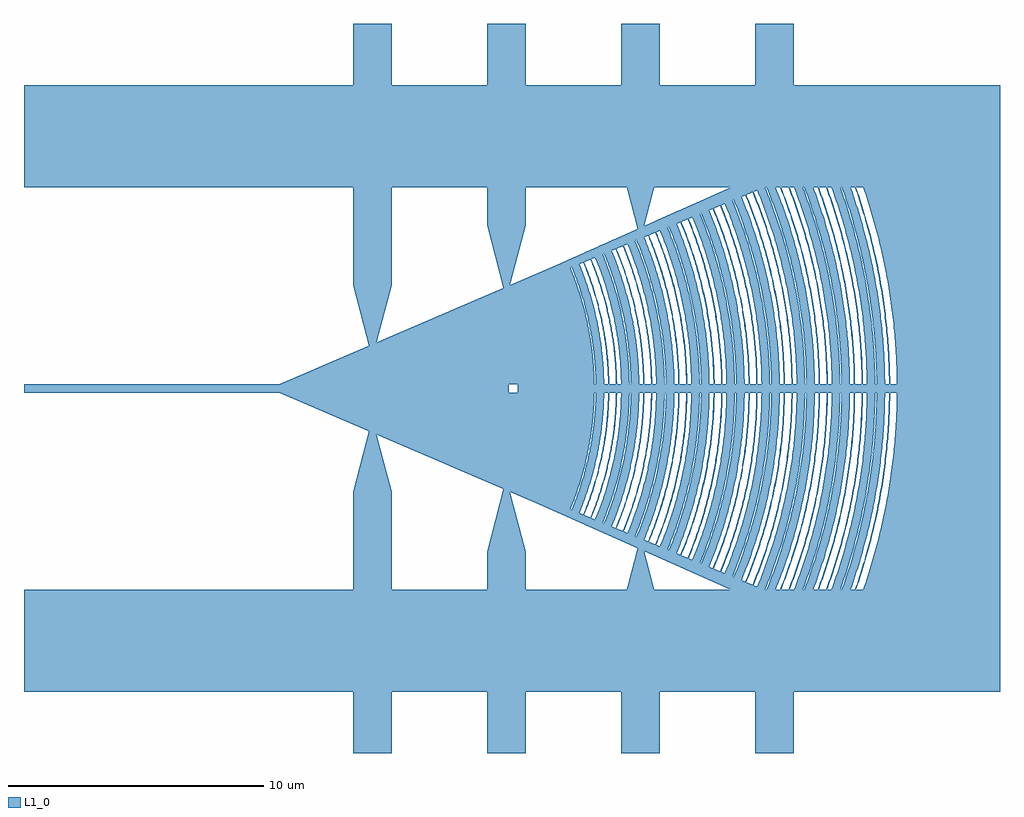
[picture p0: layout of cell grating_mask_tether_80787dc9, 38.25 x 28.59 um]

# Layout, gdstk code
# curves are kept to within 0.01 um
import gdstk
lib = gdstk.Library(unit=1e-6, precision=2e-09)
def R(c, l, rs):  # rectangles x0, y0, x1, y1
    for r in rs: c.add(gdstk.rectangle(r[:2], r[2:], *l))
def P(c, l, *ps):  # polygons
    for p in ps: c.add(gdstk.Polygon(p, *l))
L1_0 = (1, 0)

compass_size13p25__0p35_ = lib.new_cell('compass_size13p25__0p35_a60e96ef')
R(compass_size13p25__0p35_, L1_0, [(0,0,13.25,0.35)])

rectangle_size13p25__0p3 = lib.new_cell('rectangle_size13p25__0p35')
rectangle_size13p25__0p3.add(gdstk.Reference(compass_size13p25__0p35_, (0,0)))

boolean_a3fe4107 = lib.new_cell('boolean_a3fe4107')
P(boolean_a3fe4107, L1_0, [(17.968,-7.874),(18.356,-6.924),(18.692,-5.954),(18.95,-5.078),(19.14,-4.302),(19.258,-3.744),(19.394,-2.956),(19.522,-1.936),(19.602,-0.798),(19.618,0.114),(19.578,1.254),(19.472,2.39),(19.3,3.518),(19.062,4.636),(18.858,5.408),(18.658,6.062),(18.356,6.924),(18.146,7.454),(17.96,7.89),(17.722,7.89),(17.62,7.844),(18.046,6.808),(18.378,5.854),(18.688,4.774),(18.912,3.79),(19.068,2.906),(19.194,1.904),(19.272,0.786),(19.288,0.112),(19.272,-0.786),(19.194,-1.904),(19.068,-2.906),(18.866,-4.01),(18.63,-4.992),(18.344,-5.96),(18.046,-6.808),(17.62,-7.844),(17.722,-7.89),(17.96,-7.89)],
  [(18.196,-7.848),(18.374,-7.424),(18.542,-6.994),(18.7,-6.56),(18.882,-6.014),(19.08,-5.352),(19.2,-4.906),(19.36,-4.232),(19.43,-3.894),(19.536,-3.328),(19.608,-2.872),(19.654,-2.53),(19.72,-1.956),(19.76,-1.498),(19.796,-0.922),(19.812,-0.462),(19.816,0.23),(19.796,0.922),(19.776,1.268),(19.74,1.728),(19.696,2.186),(19.64,2.644),(19.536,3.328),(19.452,3.782),(19.36,4.232),(19.256,4.682),(19.112,5.24),(18.984,5.684),(18.774,6.342),(18.622,6.778),(18.374,7.424),(18.178,7.89),(18.134,7.89),(18.38,7.302),(18.504,6.98),(18.662,6.548),(18.844,6.002),(18.946,5.672),(19.072,5.23),(19.132,5.008),(19.296,4.336),(19.368,4),(19.496,3.32),(19.568,2.866),(19.656,2.182),(19.702,1.724),(19.736,1.264),(19.76,0.806),(19.776,0.23),(19.776,-0.23),(19.76,-0.806),(19.736,-1.264),(19.702,-1.724),(19.656,-2.182),(19.568,-2.866),(19.456,-3.548),(19.368,-4),(19.244,-4.56),(19.132,-5.008),(18.946,-5.672),(18.736,-6.33),(18.584,-6.764),(18.38,-7.302),(18.134,-7.89),(18.178,-7.89)],
  [(18.522,-7.862),(18.828,-7.102),(19.026,-6.552),(19.244,-5.884),(19.406,-5.322),(19.496,-4.982),(19.658,-4.298),(19.73,-3.954),(19.796,-3.61),(19.91,-2.916),(20,-2.22),(20.036,-1.87),(20.074,-1.404),(20.106,-0.82),(20.12,-0.352),(20.122,0.118),(20.114,0.586),(20.088,1.17),(20.056,1.638),(20,2.22),(19.958,2.568),(19.856,3.264),(19.752,3.84),(19.658,4.298),(19.496,4.982),(19.406,5.322),(19.244,5.884),(19.138,6.218),(18.988,6.662),(18.828,7.102),(18.7,7.43),(18.51,7.89),(18.466,7.89),(18.576,7.632),(18.79,7.088),(18.95,6.648),(19.136,6.094),(19.272,5.648),(19.458,4.972),(19.644,4.176),(19.736,3.718),(19.798,3.372),(19.87,2.91),(19.96,2.216),(20.016,1.634),(20.048,1.168),(20.074,0.584),(20.082,0.116),(20.08,-0.35),(20.066,-0.818),(20.034,-1.4),(19.996,-1.866),(19.96,-2.216),(19.87,-2.91),(19.798,-3.372),(19.714,-3.832),(19.644,-4.176),(19.514,-4.744),(19.398,-5.198),(19.272,-5.648),(19.1,-6.206),(18.872,-6.868),(18.664,-7.414),(18.466,-7.89),(18.51,-7.89)],
  [(19.066,-7.832),(19.368,-7.05),(19.746,-5.912),(20.028,-4.87),(20.256,-3.816),(20.358,-3.224),(20.458,-2.512),(20.552,-1.558),(20.606,-0.48),(20.606,0.48),(20.576,1.198),(20.522,1.916),(20.394,2.988),(20.186,4.168),(19.94,5.218),(19.746,5.912),(19.566,6.484),(19.368,7.05),(19.04,7.89),(18.684,7.89),(19.018,7.048),(19.36,6.042),(19.56,5.364),(19.814,4.332),(19.994,3.406),(20.13,2.472),(20.224,1.532),(20.276,0.472),(20.28,-0.236),(20.26,-0.944),(20.194,-1.886),(20.05,-3.056),(19.886,-3.986),(19.65,-5.02),(19.43,-5.816),(19.098,-6.826),(18.684,-7.89),(19.04,-7.89)],
  [(19.464,-7.864),(19.85,-6.834),(20.214,-5.67),(20.456,-4.722),(20.696,-3.526),(20.852,-2.438),(20.934,-1.586),(20.988,-0.488),(20.988,0.488),(20.934,1.586),(20.806,2.8),(20.608,4.006),(20.456,4.722),(20.31,5.316),(20.112,6.02),(19.928,6.604),(19.686,7.294),(19.454,7.89),(19.098,7.89),(19.418,7.068),(19.796,5.926),(20.02,5.116),(20.212,4.296),(20.39,3.352),(20.538,2.28),(20.622,1.322),(20.658,0.48),(20.658,-0.48),(20.604,-1.562),(20.51,-2.518),(20.35,-3.588),(20.134,-4.648),(19.83,-5.81),(19.538,-6.728),(19.098,-7.89),(19.454,-7.89)],
  [(19.694,-7.824),(19.872,-7.364),(20.038,-6.9),(20.23,-6.314),(20.372,-5.842),(20.502,-5.366),(20.622,-4.888),(20.73,-4.406),(20.826,-3.922),(20.932,-3.316),(20.986,-2.95),(21.076,-2.216),(21.112,-1.848),(21.164,-1.11),(21.18,-0.74),(21.19,-0.37),(21.192,0.124),(21.184,0.616),(21.164,1.11),(21.132,1.602),(21.076,2.216),(21.002,2.828),(20.932,3.316),(20.826,3.922),(20.73,4.406),(20.622,4.888),(20.47,5.486),(20.372,5.842),(20.156,6.548),(19.998,7.016),(19.74,7.71),(19.668,7.89),(19.626,7.89),(19.748,7.58),(19.96,7.002),(20.078,6.654),(20.264,6.066),(20.4,5.594),(20.554,4.998),(20.638,4.638),(20.764,4.036),(20.892,3.308),(20.964,2.822),(21.024,2.334),(21.072,1.844),(21.124,1.106),(21.144,0.616),(21.152,0.124),(21.14,-0.738),(21.124,-1.106),(21.072,-1.844),(21.024,-2.334),(20.964,-2.822),(20.892,-3.308),(20.81,-3.794),(20.716,-4.278),(20.638,-4.638),(20.554,-4.998),(20.4,-5.594),(20.192,-6.302),(20.04,-6.77),(19.834,-7.35),(19.626,-7.89),(19.668,-7.89)],
  [(20.026,-7.82),(20.202,-7.352),(20.368,-6.88),(20.522,-6.404),(20.666,-5.926),(20.798,-5.444),(20.948,-4.836),(21.054,-4.348),(21.15,-3.856),(21.272,-3.116),(21.338,-2.62),(21.406,-1.998),(21.446,-1.5),(21.48,-0.876),(21.49,-0.626),(21.498,0.126),(21.49,0.626),(21.462,1.25),(21.394,2.122),(21.338,2.62),(21.272,3.116),(21.172,3.734),(21.104,4.102),(21.002,4.592),(20.89,5.08),(20.7,5.806),(20.558,6.286),(20.368,6.88),(20.114,7.588),(19.998,7.89),(19.954,7.89),(20.078,7.574),(20.33,6.868),(20.484,6.394),(20.592,6.034),(20.726,5.554),(20.88,4.948),(20.99,4.462),(21.088,3.972),(21.154,3.604),(21.25,2.986),(21.328,2.368),(21.366,1.994),(21.422,1.248),(21.452,0.5),(21.458,0.124),(21.452,-0.5),(21.44,-0.874),(21.406,-1.496),(21.366,-1.994),(21.328,-2.368),(21.25,-2.986),(21.154,-3.604),(21.088,-3.972),(20.99,-4.462),(20.88,-4.948),(20.694,-5.674),(20.484,-6.394),(20.33,-6.868),(20.078,-7.574),(19.954,-7.89),(19.998,-7.89)],
  [(20.526,-7.88),(20.872,-6.916),(21.238,-5.69),(21.48,-4.696),(21.696,-3.566),(21.824,-2.68),(21.934,-1.534),(21.982,-0.512),(21.982,0.512),(21.934,1.534),(21.808,2.806),(21.696,3.566),(21.584,4.196),(21.334,5.32),(21.136,6.06),(20.95,6.672),(20.748,7.28),(20.522,7.89),(20.168,7.89),(20.478,7.05),(20.748,6.212),(21.014,5.24),(21.26,4.132),(21.41,3.264),(21.552,2.138),(21.628,1.134),(21.652,0.504),(21.652,-0.504),(21.596,-1.636),(21.496,-2.64),(21.35,-3.636),(21.158,-4.626),(20.886,-5.726),(20.598,-6.692),(20.168,-7.89)],
  [(20.976,-7.772),(21.354,-6.664),(21.64,-5.664),(21.88,-4.65),(22.052,-3.756),(22.218,-2.596),(22.306,-1.69),(22.36,-0.65),(22.36,0.65),(22.306,1.69),(22.17,2.984),(21.958,4.268),(21.736,5.286),(21.538,6.04),(21.354,6.664),(20.932,7.89),(20.578,7.89),(20.88,7.054),(21.186,6.074),(21.416,5.208),(21.61,4.332),(21.788,3.322),(21.904,2.432),(21.986,1.538),(22.034,0.512),(22.034,-0.512),(21.986,-1.538),(21.89,-2.558),(21.704,-3.828),(21.474,-4.958),(21.22,-5.952),(20.88,-7.054),(20.578,-7.89),(20.932,-7.89)],
  [(21.162,-7.842),(21.296,-7.472),(21.544,-6.724),(21.658,-6.346),(21.8,-5.842),(21.93,-5.332),(22.048,-4.82),(22.154,-4.306),(22.226,-3.918),(22.33,-3.27),(22.384,-2.88),(22.458,-2.228),(22.494,-1.836),(22.538,-1.182),(22.55,-0.918),(22.562,-0.526),(22.568,0.132),(22.562,0.526),(22.538,1.182),(22.504,1.706),(22.458,2.228),(22.416,2.62),(22.33,3.27),(22.248,3.79),(22.154,4.306),(22.048,4.82),(21.93,5.332),(21.8,5.842),(21.658,6.346),(21.464,6.974),(21.208,7.718),(21.144,7.89),(21.1,7.89),(21.258,7.458),(21.426,6.962),(21.582,6.462),(21.692,6.084),(21.826,5.578),(21.98,4.94),(22.088,4.428),(22.186,3.912),(22.29,3.264),(22.344,2.876),(22.418,2.224),(22.454,1.832),(22.474,1.572),(22.51,0.918),(22.528,0.132),(22.522,-0.524),(22.51,-0.918),(22.474,-1.572),(22.454,-1.832),(22.418,-2.224),(22.344,-2.876),(22.29,-3.264),(22.186,-3.912),(22.036,-4.684),(21.92,-5.196),(21.794,-5.704),(21.692,-6.084),(21.506,-6.712),(21.258,-7.458),(21.1,-7.89),(21.144,-7.89)],
  [(21.494,-7.824),(21.67,-7.322),(21.836,-6.814),(21.988,-6.304),(22.128,-5.792),(22.318,-5.016),(22.428,-4.496),(22.55,-3.84),(22.652,-3.184),(22.704,-2.788),(22.762,-2.258),(22.798,-1.86),(22.85,-1.064),(22.868,-0.532),(22.874,0.134),(22.86,0.798),(22.836,1.33),(22.798,1.86),(22.762,2.258),(22.72,2.656),(22.652,3.184),(22.572,3.71),(22.454,4.364),(22.402,4.626),(22.258,5.276),(22.128,5.792),(21.988,6.304),(21.796,6.942),(21.54,7.698),(21.47,7.89),(21.426,7.89),(21.59,7.434),(21.716,7.056),(21.836,6.676),(22.022,6.038),(22.188,5.396),(22.278,5.008),(22.362,4.618),(22.464,4.096),(22.532,3.704),(22.612,3.178),(22.68,2.65),(22.722,2.254),(22.758,1.858),(22.796,1.328),(22.82,0.796),(22.834,0.132),(22.828,-0.532),(22.81,-1.062),(22.758,-1.858),(22.722,-2.254),(22.648,-2.914),(22.532,-3.704),(22.44,-4.226),(22.362,-4.618),(22.278,-5.008),(22.124,-5.652),(22.022,-6.038),(21.836,-6.676),(21.59,-7.434),(21.426,-7.89),(21.47,-7.89)],
  [(22,-7.862),(22.262,-7.09),(22.602,-5.916),(22.824,-4.99),(23.032,-3.922),(23.172,-2.982),(23.286,-1.9),(23.344,-0.952),(23.36,0.408),(23.316,1.494),(23.262,2.172),(23.172,2.982),(23.076,3.654),(22.96,4.324),(22.734,5.388),(22.382,6.7),(21.99,7.89),(21.64,7.89),(21.906,7.118),(22.178,6.22),(22.412,5.312),(22.61,4.394),(22.75,3.604),(22.878,2.674),(22.968,1.74),(23.024,0.67),(23.03,-0.402),(22.986,-1.474),(22.878,-2.674),(22.75,-3.604),(22.558,-4.658),(22.316,-5.702),(22.066,-6.606),(21.64,-7.89),(21.99,-7.89)],
  [(22.406,-7.862),(22.708,-6.942),(22.972,-6.012),(23.168,-5.206),(23.408,-3.988),(23.568,-2.894),(23.678,-1.794),(23.726,-0.966),(23.742,0.414),(23.688,1.656),(23.568,2.894),(23.408,3.988),(23.168,5.206),(22.826,6.544),(22.626,7.206),(22.396,7.89),(22.046,7.89),(22.352,6.976),(22.618,6.06),(22.846,5.134),(23.036,4.2),(23.188,3.258),(23.272,2.584),(23.368,1.498),(23.406,0.682),(23.412,-0.408),(23.368,-1.498),(23.272,-2.584),(23.148,-3.528),(22.932,-4.734),(22.72,-5.664),(22.432,-6.716),(22.046,-7.89),(22.396,-7.89)],
  [(22.64,-7.796),(22.772,-7.4),(22.938,-6.868),(23.092,-6.332),(23.198,-5.928),(23.362,-5.25),(23.45,-4.842),(23.556,-4.294),(23.628,-3.884),(23.692,-3.47),(23.766,-2.918),(23.828,-2.364),(23.876,-1.81),(23.912,-1.254),(23.93,-0.836),(23.944,-0.14),(23.944,0.14),(23.938,0.558),(23.912,1.254),(23.876,1.81),(23.828,2.364),(23.766,2.918),(23.692,3.47),(23.628,3.884),(23.556,4.294),(23.478,4.706),(23.362,5.25),(23.266,5.658),(23.092,6.332),(22.898,7),(22.64,7.796),(22.606,7.89),(22.564,7.89),(22.734,7.386),(22.9,6.856),(23.054,6.322),(23.16,5.918),(23.292,5.378),(23.382,4.97),(23.516,4.288),(23.588,3.876),(23.672,3.326),(23.726,2.914),(23.788,2.36),(23.836,1.806),(23.872,1.252),(23.89,0.834),(23.904,0.14),(23.904,-0.14),(23.89,-0.834),(23.872,-1.252),(23.836,-1.806),(23.788,-2.36),(23.726,-2.914),(23.61,-3.74),(23.516,-4.288),(23.438,-4.698),(23.26,-5.512),(23.09,-6.186),(22.94,-6.722),(22.734,-7.386),(22.564,-7.89),(22.606,-7.89)],
  [(24.25,7.89),(22.888,7.89),(23.152,7.078),(23.456,5.994),(23.71,4.896),(23.89,3.926),(24.03,2.95),(24.13,1.97),(24.184,1.126),(24.21,0.14),(24.19,-0.986),(24.13,-1.97),(24.03,-2.95),(23.89,-3.926),(23.71,-4.896),(23.456,-5.994),(23.152,-7.078),(22.888,-7.89),(24.25,-7.89)],
  [(17.618,-7.722),(17.998,-6.788),(18.328,-5.838),(18.58,-4.978),(18.838,-3.89),(19.016,-2.898),(19.142,-1.9),(19.22,-0.784),(19.236,0),(19.228,0.56),(19.196,1.23),(19.106,2.234),(18.944,3.34),(18.792,4.108),(18.58,4.978),(18.294,5.944),(17.958,6.894),(17.572,7.824),(17.27,7.69),(17.65,6.776),(17.946,5.946),(18.262,4.892),(18.47,4.038),(18.656,3.066),(18.79,2.086),(18.874,1.1),(18.906,0.11),(18.88,-0.99),(18.802,-1.976),(18.656,-3.066),(18.47,-4.038),(18.262,-4.892),(17.946,-5.946),(17.65,-6.776),(17.27,-7.69),(17.572,-7.824)],
  [(17.17,-7.526),(17.382,-7.022),(17.502,-6.718),(17.726,-6.104),(17.896,-5.586),(18.02,-5.168),(18.136,-4.746),(18.242,-4.324),(18.36,-3.79),(18.462,-3.256),(18.516,-2.932),(18.62,-2.176),(18.666,-1.742),(18.708,-1.198),(18.726,-0.872),(18.744,-0.328),(18.746,0.218),(18.726,0.872),(18.708,1.198),(18.676,1.634),(18.62,2.176),(18.564,2.608),(18.462,3.256),(18.314,4.004),(18.242,4.324),(18.08,4.958),(17.862,5.69),(17.726,6.104),(17.502,6.718),(17.34,7.124),(17.126,7.624),(17.09,7.608),(17.304,7.108),(17.464,6.704),(17.652,6.194),(17.824,5.678),(18.012,5.052),(18.124,4.632),(18.298,3.89),(18.422,3.248),(18.476,2.926),(18.54,2.496),(18.58,2.172),(18.636,1.63),(18.668,1.196),(18.686,0.87),(18.706,0.218),(18.702,-0.436),(18.686,-0.87),(18.668,-1.196),(18.626,-1.738),(18.54,-2.496),(18.44,-3.142),(18.342,-3.676),(18.252,-4.102),(18.124,-4.632),(18.012,-5.052),(17.92,-5.366),(17.824,-5.678),(17.616,-6.296),(17.464,-6.704),(17.304,-7.108),(17.09,-7.608),(17.126,-7.624)],
  [(16.89,-7.402),(17.058,-7.008),(17.292,-6.408),(17.436,-6.004),(17.604,-5.494),(17.756,-4.98),(17.84,-4.67),(17.944,-4.252),(18.06,-3.728),(18.142,-3.308),(18.214,-2.884),(18.304,-2.248),(18.34,-1.928),(18.38,-1.5),(18.416,-0.966),(18.436,-0.43),(18.44,0.214),(18.426,0.75),(18.396,1.286),(18.34,1.928),(18.304,2.248),(18.214,2.884),(18.142,3.308),(18.016,3.938),(17.918,4.358),(17.756,4.98),(17.538,5.698),(17.4,6.106),(17.216,6.608),(17.058,7.008),(16.846,7.5),(16.81,7.484),(16.98,7.09),(17.14,6.694),(17.328,6.192),(17.5,5.686),(17.628,5.278),(17.746,4.866),(17.88,4.348),(17.976,3.93),(18.042,3.616),(18.14,3.09),(18.222,2.56),(18.264,2.242),(18.3,1.924),(18.356,1.284),(18.386,0.75),(18.4,0.214),(18.4,-0.214),(18.39,-0.642),(18.37,-1.07),(18.34,-1.498),(18.3,-1.924),(18.222,-2.56),(18.14,-3.09),(18.042,-3.616),(17.88,-4.348),(17.746,-4.866),(17.628,-5.278),(17.432,-5.89),(17.254,-6.394),(17.02,-6.992),(16.81,-7.484),(16.846,-7.5)],
  [(16.708,-7.322),(17.068,-6.438),(17.382,-5.536),(17.648,-4.618),(17.886,-3.584),(18.034,-2.748),(18.142,-1.906),(18.222,-0.848),(18.242,0.106),(18.198,1.272),(18.106,2.224),(17.946,3.272),(17.798,4),(17.564,4.926),(17.316,5.738),(17.03,6.538),(16.664,7.42),(16.362,7.286),(16.646,6.614),(16.97,5.732),(17.218,4.938),(17.476,3.928),(17.692,2.802),(17.814,1.872),(17.888,0.938),(17.912,0.104),(17.888,-0.938),(17.814,-1.872),(17.708,-2.7),(17.542,-3.622),(17.302,-4.636),(17.066,-5.436),(16.76,-6.322),(16.362,-7.286),(16.664,-7.42)],
  [(16.358,-7.17),(16.674,-6.4),(17.018,-5.42),(17.278,-4.522),(17.47,-3.714),(17.624,-2.896),(17.762,-1.866),(17.836,-0.934),(17.86,0.104),(17.836,0.934),(17.762,1.866),(17.624,2.896),(17.47,3.714),(17.278,4.522),(17.018,5.42),(16.674,6.4),(16.316,7.264),(16.014,7.13),(16.366,6.282),(16.672,5.416),(16.906,4.636),(17.168,3.544),(17.33,2.642),(17.434,1.832),(17.506,0.918),(17.53,0.102),(17.506,-0.918),(17.434,-1.832),(17.33,-2.642),(17.168,-3.544),(16.906,-4.636),(16.672,-5.416),(16.366,-6.282),(16.014,-7.13),(16.316,-7.264)],
  [(15.91,-6.972),(16.144,-6.414),(16.288,-6.036),(16.392,-5.75),(16.552,-5.272),(16.67,-4.886),(16.83,-4.3),(16.926,-3.908),(17.032,-3.414),(17.124,-2.916),(17.188,-2.518),(17.254,-2.016),(17.296,-1.614),(17.336,-1.11),(17.352,-0.808),(17.37,-0.202),(17.37,0.202),(17.364,0.506),(17.336,1.11),(17.296,1.614),(17.254,2.016),(17.188,2.518),(17.124,2.916),(17.052,3.314),(16.97,3.71),(16.83,4.3),(16.752,4.594),(16.552,5.272),(16.392,5.75),(16.216,6.226),(16.068,6.6),(15.868,7.066),(15.832,7.048),(16.03,6.586),(16.216,6.116),(16.354,5.738),(16.514,5.26),(16.632,4.874),(16.792,4.29),(16.952,3.604),(17.032,3.208),(17.118,2.712),(17.214,2.012),(17.256,1.61),(17.302,1.008),(17.324,0.504),(17.33,0.202),(17.33,-0.202),(17.312,-0.806),(17.302,-1.008),(17.256,-1.61),(17.214,-2.012),(17.148,-2.512),(17.032,-3.208),(16.952,-3.604),(16.864,-3.996),(16.792,-4.29),(16.632,-4.874),(16.514,-5.26),(16.286,-5.928),(16.03,-6.586),(15.832,-7.048),(15.868,-7.066)],
  [(15.63,-6.85),(15.86,-6.3),(16.002,-5.93),(16.168,-5.462),(16.32,-4.99),(16.458,-4.512),(16.582,-4.032),(16.65,-3.742),(16.752,-3.256),(16.87,-2.572),(16.926,-2.178),(17,-1.488),(17.042,-0.894),(17.058,-0.496),(17.064,0.198),(17.042,0.894),(17.024,1.19),(16.982,1.684),(16.95,1.982),(16.87,2.572),(16.806,2.964),(16.752,3.256),(16.65,3.742),(16.582,4.032),(16.458,4.512),(16.32,4.99),(16.168,5.462),(15.932,6.116),(15.67,6.76),(15.59,6.94),(15.552,6.924),(15.748,6.47),(15.93,6.008),(16.098,5.542),(16.252,5.072),(16.366,4.692),(16.47,4.31),(16.632,3.636),(16.712,3.248),(16.8,2.762),(16.91,1.976),(16.942,1.68),(16.984,1.188),(17.01,0.694),(17.024,0.198),(17.018,-0.496),(17.002,-0.89),(16.96,-1.484),(16.886,-2.174),(16.816,-2.664),(16.712,-3.248),(16.566,-3.926),(16.47,-4.31),(16.31,-4.882),(16.13,-5.448),(15.93,-6.008),(15.748,-6.47),(15.552,-6.924),(15.59,-6.94)],
  [(15.448,-6.77),(15.746,-6.044),(16.1,-5.024),(16.316,-4.27),(16.518,-3.41),(16.674,-2.542),(16.784,-1.666),(16.848,-0.784),(16.866,0.098),(16.838,0.98),(16.774,1.762),(16.674,2.542),(16.498,3.506),(16.266,4.46),(16.01,5.306),(15.746,6.044),(15.408,6.86),(15.106,6.726),(15.438,5.926),(15.696,5.202),(15.922,4.466),(16.134,3.626),(16.332,2.586),(16.446,1.728),(16.514,0.866),(16.536,0.096),(16.514,-0.866),(16.446,-1.728),(16.362,-2.396),(16.214,-3.25),(15.972,-4.28),(15.756,-5.018),(15.438,-5.926),(15.106,-6.726),(15.408,-6.86)],
  [(15.098,-6.616),(15.49,-5.638),(15.736,-4.912),(15.922,-4.266),(16.124,-3.428),(16.296,-2.484),(16.404,-1.628),(16.462,-0.862),(16.484,0.096),(16.462,0.862),(16.394,1.724),(16.266,2.674),(16.124,3.428),(15.922,4.266),(15.736,4.912),(15.388,5.908),(15.058,6.704),(14.758,6.57),(15.114,5.702),(15.364,4.992),(15.628,4.09),(15.82,3.266),(15.97,2.434),(16.066,1.688),(16.132,0.846),(16.154,0.094),(16.132,-0.846),(16.066,-1.688),(15.97,-2.434),(15.82,-3.266),(15.628,-4.09),(15.364,-4.992),(15.114,-5.702),(14.758,-6.57),(15.058,-6.704)],
  [(14.65,-6.42),(14.76,-6.164),(14.966,-5.646),(15.124,-5.208),(15.212,-4.942),(15.35,-4.498),(15.426,-4.23),(15.542,-3.78),(15.646,-3.326),(15.736,-2.87),(15.798,-2.502),(15.852,-2.134),(15.908,-1.672),(15.95,-1.208),(15.978,-0.744),(15.994,-0.186),(15.994,0.186),(15.986,0.558),(15.968,0.93),(15.95,1.208),(15.898,1.764),(15.852,2.134),(15.798,2.502),(15.736,2.87),(15.646,3.326),(15.542,3.78),(15.426,4.23),(15.35,4.498),(15.212,4.942),(15.124,5.208),(14.966,5.646),(14.76,6.164),(14.612,6.506),(14.576,6.49),(14.758,6.062),(14.928,5.63),(15.086,5.194),(15.23,4.754),(15.362,4.308),(15.458,3.95),(15.606,3.318),(15.662,3.044),(15.744,2.588),(15.8,2.22),(15.858,1.76),(15.902,1.298),(15.928,0.928),(15.942,0.65),(15.954,0.186),(15.954,-0.186),(15.942,-0.65),(15.916,-1.112),(15.886,-1.484),(15.858,-1.76),(15.8,-2.22),(15.744,-2.588),(15.644,-3.136),(15.546,-3.588),(15.458,-3.95),(15.362,-4.308),(15.258,-4.664),(15.086,-5.194),(14.928,-5.63),(14.758,-6.062),(14.576,-6.49),(14.612,-6.506)],
  [(14.37,-6.298),(14.478,-6.046),(14.68,-5.538),(14.922,-4.848),(15.082,-4.324),(15.178,-3.972),(15.308,-3.44),(15.384,-3.084),(15.482,-2.544),(15.524,-2.274),(15.594,-1.73),(15.63,-1.368),(15.668,-0.822),(15.68,-0.548),(15.688,0.182),(15.668,0.822),(15.63,1.368),(15.594,1.73),(15.524,2.274),(15.482,2.544),(15.384,3.084),(15.308,3.44),(15.178,3.972),(15.082,4.324),(14.922,4.848),(14.68,5.538),(14.478,6.046),(14.332,6.382),(14.296,6.364),(14.476,5.946),(14.706,5.352),(14.826,5.008),(14.992,4.488),(15.162,3.874),(15.248,3.52),(15.326,3.164),(15.442,2.538),(15.484,2.268),(15.564,1.636),(15.59,1.364),(15.628,0.82),(15.648,0.182),(15.648,-0.182),(15.64,-0.546),(15.628,-0.82),(15.582,-1.454),(15.544,-1.816),(15.484,-2.268),(15.412,-2.718),(15.362,-2.986),(15.206,-3.698),(15.116,-4.05),(14.992,-4.488),(14.826,-5.008),(14.706,-5.352),(14.476,-5.946),(14.296,-6.364),(14.332,-6.382)],
  [(14.188,-6.218),(14.462,-5.552),(14.76,-4.7),(14.986,-3.922),(15.152,-3.22),(15.3,-2.424),(15.406,-1.62),(15.474,-0.72),(15.49,0.09),(15.474,0.72),(15.406,1.62),(15.3,2.424),(15.152,3.22),(14.986,3.922),(14.76,4.7),(14.462,5.552),(14.15,6.3),(13.85,6.166),(14.122,5.516),(14.418,4.684),(14.644,3.924),(14.81,3.238),(14.96,2.458),(15.068,1.672),(15.14,0.794),(15.16,0.088),(15.14,-0.794),(15.068,-1.672),(14.96,-2.458),(14.81,-3.238),(14.644,-3.924),(14.418,-4.684),(14.122,-5.516),(13.85,-6.166),(14.15,-6.3)],
  [(13.838,-6.064),(14.136,-5.332),(14.396,-4.584),(14.616,-3.826),(14.796,-3.056),(14.936,-2.276),(15.034,-1.492),(15.088,-0.79),(15.108,0.088),(15.088,0.79),(15.016,1.666),(14.894,2.536),(14.76,3.228),(14.616,3.826),(14.396,4.584),(14.136,5.332),(13.802,6.144),(13.5,6.01),(13.766,5.376),(14.028,4.648),(14.206,4.074),(14.4,3.324),(14.554,2.566),(14.668,1.802),(14.748,0.946),(14.778,0.086),(14.758,-0.774),(14.706,-1.46),(14.622,-2.142),(14.49,-2.904),(14.296,-3.742),(14.028,-4.648),(13.766,-5.376),(13.5,-6.01),(13.802,-6.144)],
  [(13.39,-5.868),(13.618,-5.318),(13.738,-5),(13.904,-4.518),(14.076,-3.948),(14.164,-3.62),(14.3,-3.04),(14.426,-2.37),(14.5,-1.866),(14.548,-1.444),(14.578,-1.104),(14.604,-0.68),(14.618,-0.17),(14.618,0.17),(14.604,0.68),(14.584,1.02),(14.548,1.444),(14.52,1.698),(14.412,2.454),(14.334,2.872),(14.264,3.206),(14.164,3.62),(14.076,3.948),(13.904,4.518),(13.738,5),(13.618,5.318),(13.49,5.634),(13.354,5.946),(13.318,5.93),(13.518,5.462),(13.7,4.986),(13.866,4.506),(13.942,4.262),(14.104,3.692),(14.206,3.28),(14.278,2.948),(14.4,2.28),(14.49,1.608),(14.544,1.018),(14.57,0.508),(14.578,0.17),(14.578,-0.17),(14.57,-0.508),(14.544,-1.018),(14.508,-1.44),(14.46,-1.86),(14.4,-2.28),(14.278,-2.948),(14.206,-3.28),(14.104,-3.692),(13.942,-4.262),(13.866,-4.506),(13.7,-4.986),(13.518,-5.462),(13.318,-5.93),(13.354,-5.946)],
  [(13.11,-5.746),(13.24,-5.438),(13.422,-4.974),(13.534,-4.66),(13.664,-4.264),(13.782,-3.866),(13.868,-3.544),(14.018,-2.894),(14.096,-2.486),(14.15,-2.156),(14.186,-1.91),(14.244,-1.414),(14.294,-0.75),(14.31,-0.334),(14.314,0),(14.31,0.334),(14.294,0.75),(14.244,1.414),(14.186,1.91),(14.15,2.156),(14.096,2.486),(14.018,2.894),(13.868,3.544),(13.782,3.866),(13.664,4.264),(13.534,4.66),(13.422,4.974),(13.24,5.438),(13.076,5.822),(13.04,5.806),(13.234,5.346),(13.384,4.96),(13.496,4.646),(13.65,4.174),(13.808,3.614),(13.944,3.048),(14.042,2.56),(14.098,2.232),(14.146,1.904),(14.186,1.574),(14.212,1.326),(14.244,0.912),(14.262,0.582),(14.272,0.166),(14.27,-0.332),(14.262,-0.582),(14.244,-0.912),(14.212,-1.326),(14.146,-1.904),(14.098,-2.232),(14.01,-2.724),(13.888,-3.292),(13.808,-3.614),(13.674,-4.094),(13.496,-4.646),(13.384,-4.96),(13.234,-5.346),(13.04,-5.806),(13.076,-5.822)],
  [(12.928,-5.666),(13.206,-4.982),(13.424,-4.362),(13.634,-3.652),(13.806,-2.934),(13.928,-2.29),(14.046,-1.394),(14.106,-0.492),(14.114,0.164),(14.086,0.902),(14.028,1.558),(13.928,2.29),(13.806,2.934),(13.634,3.652),(13.424,4.362),(13.206,4.982),(12.894,5.74),(12.592,5.606),(12.84,5.014),(13.11,4.26),(13.294,3.644),(13.466,2.944),(13.602,2.236),(13.682,1.68),(13.756,0.882),(13.784,0.16),(13.77,-0.642),(13.732,-1.202),(13.65,-1.918),(13.5,-2.788),(13.294,-3.644),(13.11,-4.26),(12.84,-5.014),(12.592,-5.606),(12.894,-5.74)],
  [(12.576,-5.512),(12.82,-4.922),(13.06,-4.244),(13.244,-3.632),(13.416,-2.934),(13.524,-2.384),(13.64,-1.594),(13.714,-0.718),(13.732,0.08),(13.714,0.718),(13.64,1.594),(13.524,2.384),(13.416,2.934),(13.244,3.632),(13.06,4.244),(12.82,4.922),(12.544,5.586),(12.244,5.452),(12.484,4.876),(12.722,4.216),(12.946,3.468),(13.11,2.786),(13.212,2.25),(13.312,1.556),(13.38,0.78),(13.402,0.078),(13.388,-0.624),(13.344,-1.246),(13.272,-1.866),(13.11,-2.786),(12.946,-3.468),(12.722,-4.216),(12.484,-4.876),(12.244,-5.452),(12.544,-5.586)],
  [(12.13,-5.316),(12.308,-4.89),(12.418,-4.602),(12.522,-4.312),(12.642,-3.946),(12.812,-3.354),(12.904,-2.978),(12.97,-2.678),(13.056,-2.224),(13.104,-1.92),(13.154,-1.538),(13.186,-1.23),(13.216,-0.846),(13.238,-0.386),(13.242,0.232),(13.232,0.54),(13.206,1),(13.154,1.538),(13.104,1.92),(13.056,2.224),(12.938,2.828),(12.85,3.204),(12.752,3.576),(12.57,4.166),(12.364,4.746),(12.25,5.032),(12.098,5.386),(12.062,5.37),(12.184,5.088),(12.354,4.66),(12.484,4.298),(12.604,3.934),(12.692,3.64),(12.792,3.268),(12.914,2.746),(13.016,2.218),(13.064,1.914),(13.114,1.532),(13.16,1.074),(13.176,0.844),(13.198,0.384),(13.202,0.154),(13.2,-0.308),(13.192,-0.538),(13.166,-0.998),(13.146,-1.228),(13.114,-1.532),(13.064,-1.914),(13.016,-2.218),(12.946,-2.594),(12.83,-3.12),(12.692,-3.64),(12.604,-3.934),(12.484,-4.298),(12.354,-4.66),(12.184,-5.088),(12.062,-5.37),(12.098,-5.386)],
  [(11.85,-5.194),(11.996,-4.846),(12.132,-4.496),(12.328,-3.926),(12.416,-3.638),(12.516,-3.276),(12.606,-2.91),(12.67,-2.616),(12.728,-2.32),(12.79,-1.95),(12.832,-1.652),(12.882,-1.202),(12.924,-0.602),(12.936,-0.226),(12.938,0.076),(12.92,0.678),(12.874,1.278),(12.832,1.652),(12.79,1.95),(12.728,2.32),(12.67,2.616),(12.606,2.91),(12.516,3.276),(12.416,3.638),(12.328,3.926),(12.132,4.496),(11.996,4.846),(11.818,5.262),(11.782,5.246),(11.93,4.9),(12.068,4.552),(12.17,4.27),(12.312,3.842),(12.458,3.338),(12.55,2.974),(12.616,2.682),(12.702,2.24),(12.75,1.944),(12.792,1.646),(12.842,1.198),(12.884,0.6),(12.898,0),(12.884,-0.6),(12.842,-1.198),(12.792,-1.646),(12.75,-1.944),(12.702,-2.24),(12.646,-2.534),(12.532,-3.048),(12.458,-3.338),(12.356,-3.698),(12.266,-3.986),(12.12,-4.412),(11.958,-4.832),(11.782,-5.246),(11.818,-5.262)],
  [(11.666,-5.114),(11.892,-4.566),(12.138,-3.866),(12.324,-3.226),(12.476,-2.576),(12.604,-1.846),(12.684,-1.184),(12.728,-0.518),(12.738,0.148),(12.684,1.184),(12.604,1.846),(12.476,2.576),(12.324,3.226),(12.138,3.866),(11.892,4.566),(11.636,5.182),(11.336,5.046),(11.532,4.582),(11.756,3.972),(11.986,3.212),(12.138,2.58),(12.256,1.942),(12.348,1.226),(12.392,0.65),(12.408,0.144),(12.392,-0.65),(12.348,-1.226),(12.256,-1.942),(12.138,-2.58),(11.986,-3.212),(11.756,-3.972),(11.532,-4.582),(11.336,-5.046),(11.636,-5.182)],
  [(11.316,-4.96),(11.536,-4.428),(11.774,-3.75),(11.99,-2.99),(12.116,-2.428),(12.226,-1.79),(12.31,-1.076),(12.346,-0.504),(12.356,0.144),(12.316,1.006),(12.256,1.578),(12.156,2.216),(12.056,2.71),(11.936,3.198),(11.752,3.818),(11.51,4.496),(11.288,5.026),(0,0.176),(-10,0.176),(-10,-0.176),(9,-0.176),(9,0.176),(9.35,0.176),(9.35,-0.176),(-10,-0.176),(0,-0.176),(11.288,-5.026)])

ring_d1d62f96_transform_ = lib.new_cell('ring_d1d62f96_transform_d87d82d5')
P(ring_d1d62f96_transform_, L1_0, [(22.154,-9.176),(0,0),(22.154,-9.864)],
  [(22.154,-9.864),(22.404,-9.282),(22.154,-9.176)])

c_ring_d1d62f96_transform_ = lib.new_cell('ring_d1d62f96_transform_3501d09c')
P(c_ring_d1d62f96_transform_, L1_0, [(22.154,9.176),(22.154,9.864),(0,0)],
  [(22.404,9.28),(22.154,9.864),(22.154,9.176)])

c__tether_straight_length_ = lib.new_cell('_tether_straight_length_0c06aef3')
R(c__tether_straight_length_, L1_0, [(2.904,4.056,4.404,14.294)])
P(c__tether_straight_length_, L1_0, [(3.754,1.556),(4.404,4.056),(2.904,4.056),(3.554,1.556)])

c__tether_straight_length__ = lib.new_cell('_tether_straight_length_1978be66')
R(c__tether_straight_length__, L1_0, [(2.904,-14.294,4.404,-4.056)])
P(c__tether_straight_length__, L1_0, [(3.554,-1.556),(2.904,-4.056),(4.404,-4.056),(3.754,-1.556)])

c__tether_straight_length___ = lib.new_cell('_tether_straight_length_98482a6d')
R(c__tether_straight_length___, L1_0, [(8.156,6.396,9.656,14.294)])
P(c__tether_straight_length___, L1_0, [(9.006,3.896),(9.656,6.396),(8.156,6.396),(8.806,3.896)])

c__tether_straight_length____ = lib.new_cell('_tether_straight_length_6c890cbb')
R(c__tether_straight_length____, L1_0, [(8.156,-14.294,9.656,-6.396)])
P(c__tether_straight_length____, L1_0, [(8.806,-3.896),(8.156,-6.396),(9.656,-6.396),(9.006,-3.896)])

c__tether_straight_length_____ = lib.new_cell('_tether_straight_length_a353c7a9')
R(c__tether_straight_length_____, L1_0, [(13.41,8.734,14.91,14.294)])
P(c__tether_straight_length_____, L1_0, [(14.26,6.234),(14.91,8.734),(13.41,8.734),(14.06,6.234)])

c__tether_straight_length______ = lib.new_cell('_tether_straight_length_d036d236')
R(c__tether_straight_length______, L1_0, [(13.41,-14.294,14.91,-8.734)])
P(c__tether_straight_length______, L1_0, [(14.06,-6.234),(13.41,-8.734),(14.91,-8.734),(14.26,-6.234)])

c__tether_straight_length_______ = lib.new_cell('_tether_straight_length_c18f0411')
R(c__tether_straight_length_______, L1_0, [(18.662,11.074,20.162,14.294)])
P(c__tether_straight_length_______, L1_0, [(19.512,8.574),(20.162,11.074),(18.662,11.074),(19.312,8.574)])

c__tether_straight_length________ = lib.new_cell('_tether_straight_length_b38937c7')
R(c__tether_straight_length________, L1_0, [(18.662,-14.294,20.162,-11.074)])
P(c__tether_straight_length________, L1_0, [(19.312,-8.574),(18.662,-11.074),(20.162,-11.074),(19.512,-8.574)])

section_2skeleton_tethe_ = lib.new_cell('section_2skeleton_tethe_148daf7c')
section_2skeleton_tethe_.add(gdstk.Reference(ring_d1d62f96_transform_, (0,0)))
section_2skeleton_tethe_.add(gdstk.Reference(c_ring_d1d62f96_transform_, (0,0)))
section_2skeleton_tethe_.add(gdstk.Reference(c__tether_straight_length_, (0,0)))
section_2skeleton_tethe_.add(gdstk.Reference(c__tether_straight_length__, (0,0)))
section_2skeleton_tethe_.add(gdstk.Reference(c__tether_straight_length___, (0,0)))
section_2skeleton_tethe_.add(gdstk.Reference(c__tether_straight_length____, (0,0)))
section_2skeleton_tethe_.add(gdstk.Reference(c__tether_straight_length_____, (0,0)))
section_2skeleton_tethe_.add(gdstk.Reference(c__tether_straight_length______, (0,0)))
section_2skeleton_tethe_.add(gdstk.Reference(c__tether_straight_length_______, (0,0)))
section_2skeleton_tethe_.add(gdstk.Reference(c__tether_straight_length________, (0,0)))

boolean_c9234087 = lib.new_cell('boolean_c9234087')
P(boolean_c9234087, L1_0, [(28.25,-11.89),(28.25,11.89),(-10,11.89),(-10,7.89),(24.25,7.89),(24.25,-7.89),(-10,-7.89),(-10,-11.89)])

grating_mask_tether_8078 = lib.new_cell('grating_mask_tether_80787dc9')
grating_mask_tether_8078.add(gdstk.Reference(rectangle_size13p25__0p3, (11,-0.174)))
grating_mask_tether_8078.add(gdstk.Reference(boolean_a3fe4107, (0,0)))
grating_mask_tether_8078.add(gdstk.Reference(section_2skeleton_tethe_, (0,0)))
grating_mask_tether_8078.add(gdstk.Reference(boolean_c9234087, (0,0)))

lib.write_gds('grating_mask_tether_80787dc9.gds')
